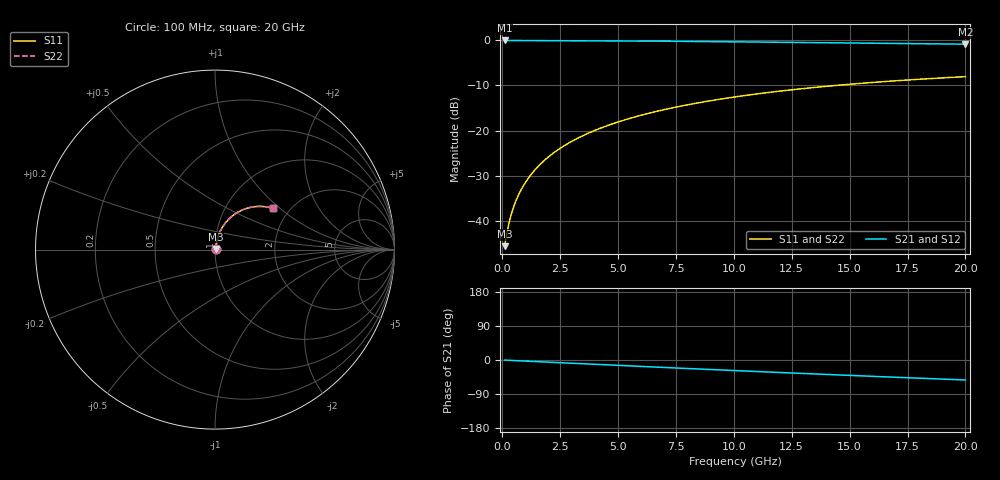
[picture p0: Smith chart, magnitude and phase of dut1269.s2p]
! Touchstone file exported from HFSS 2026.1.0
!  File:  C:/ffzhzh/LocalFiles/Ansys_Project_Files/temp_train_BSMRDL_1269_1783177641_55132.aedt
!  Generated:  11:08:49 PM Jul  4, 2026
!  Design:  BSMRDL
!  Project:  temp_train_BSMRDL_1269_1783177641_55132
! Variables:
!  h_bsmrdl = 2.78um
!  h_ox = 20um
!  h_rdl = 5um
!  h_sub = 80um
!  h_tmrdl = 5um
!  h_tsv = 80um
!  h_via = 3um
!  l_bsmrdl = 827.75um
!  l_sub = 1227.75um
!  l_tmrdl = 200um
!  m_sub = 200um
!  pitch = 47um
!  r_tsv = 6um
!  s_tmrdl = 10um
!  w_bsmrdl = 25.88um
!  w_sub = 500um
!  w_tmrdl = 12um
!  x_tsv_center1 = 206um
!  x_tsv_center2 = 1059.63um
!  x_tsv_center3 = 1271.63um
!  x_tsv_center4 = 2125.26um
!  x_tsv_center5 = 2337.26um
!  x_tsv_center6 = 3190.89um
# GHz S MA R 50.000000
! Terminal data exported
! Port[1] = BSM_RDL1_1_T1
! Port[2] = BSM_RDL1_1_T2
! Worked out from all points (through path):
!   200 points, 100 MHz to 20 GHz, reference 50 ohm
!   highest |S21| = -0.04 dB at 100 MHz (marker M1); lowest = -0.9 dB at 20 GHz (marker M2)
!   group delay of S21, straight-line fit = 7.33 ps
!   lowest |S11| = -45.6 dB at 100 MHz (marker M3), VSWR 1.01, Z = 50.4 + j0.293 ohm
!   |S11| at or under -10 dB: start of sweep to 14.42 GHz
!   |S22| runs from -45.6 to -8.1 dB; largest |S21 - S12| = 9e-15
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0.1  0.005237 33.7  0.9957 -0.3  0.9957 -0.3  0.005237 33.7
! Gamma 0 0 0 0
! Port Impedance 50 0 50 0
0.2  0.007342 50.9  0.9954 -0.6  0.9954 -0.6  0.007342 50.9
0.3  0.009723 59.3  0.9951 -0.9  0.9951 -0.9  0.009723 59.3
0.4  0.01214 64.1  0.9949 -1.2  0.9949 -1.2  0.01214 64.1
0.5  0.01454 67.3  0.9946 -1.5  0.9946 -1.5  0.01454 67.3
0.6  0.01694 69.5  0.9944 -1.8  0.9944 -1.8  0.01694 69.5
0.8  0.02176 72.6  0.9941 -2.3  0.9941 -2.3  0.02176 72.6
1.1  0.02906 75.2  0.9938 -3.2  0.9938 -3.2  0.02906 75.2
1.3  0.03397 76.2  0.9935 -3.7  0.9935 -3.7  0.03397 76.2
1.6  0.04137 77.0  0.9931 -4.6  0.9931 -4.6  0.04137 77.0
2.1  0.05375 77.3  0.9924 -6.0  0.9924 -6.0  0.05375 77.3
2.7  0.0686 76.9  0.9912 -7.7  0.9912 -7.7  0.0686 76.9
3.5  0.08827 75.6  0.9894 -10.0  0.9894 -10.0  0.08827 75.6
4.2  0.1053 74.2  0.9874 -12.0  0.9874 -12.0  0.1053 74.2
5  0.1245 72.4  0.9848 -14.2  0.9848 -14.2  0.1245 72.4
5.9  0.1456 70.2  0.9814 -16.7  0.9814 -16.7  0.1456 70.2
6.8  0.1662 67.9  0.9777 -19.2  0.9777 -19.2  0.1662 67.9
8.3  0.1994 64.1  0.9707 -23.3  0.9707 -23.3  0.1994 64.1
10.1  0.2369 59.5  0.9614 -28.1  0.9614 -28.1  0.2369 59.5
13.4  0.2989 51.2  0.9427 -36.6  0.9427 -36.6  0.2989 51.2
16.7  0.3518 43.2  0.9236 -44.8  0.9236 -44.8  0.3518 43.2
20  0.3954 35.5  0.9055 -52.7  0.9055 -52.7  0.3954 35.5
